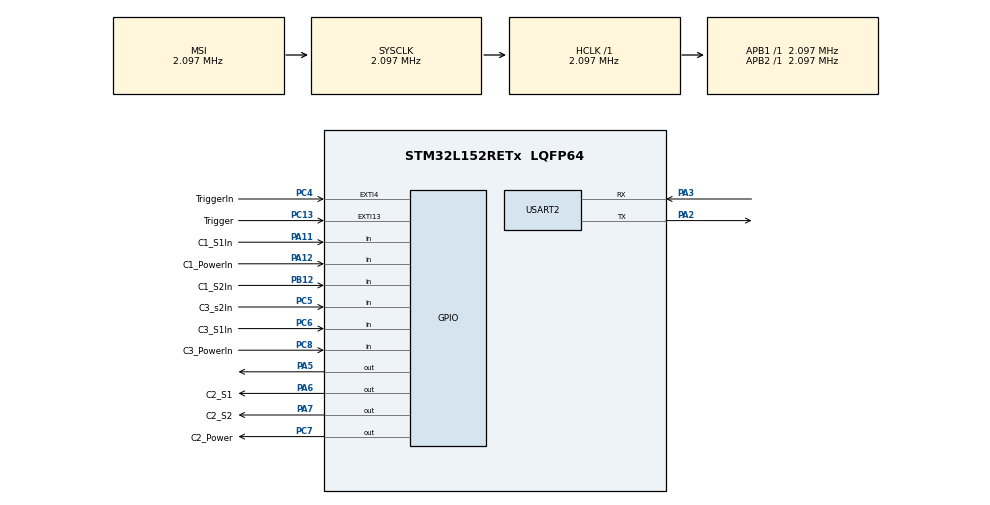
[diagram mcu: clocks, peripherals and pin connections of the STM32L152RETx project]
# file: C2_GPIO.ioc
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Mcu.Family=STM32L1
Mcu.Name=STM32L152RETx
Mcu.Package=LQFP64
NVIC.EXTI15_10_IRQn=true\:0\:0\:false\:false\:true\:true\:true
NVIC.EXTI4_IRQn=true\:0\:0\:false\:false\:true\:true\:true
NVIC.PriorityGroup=NVIC_PRIORITYGROUP_4
PA11.GPIO_Label=C1_S1In
PA11.Signal=GPIO_Input
PA12.GPIO_Label=C1_PowerIn
PA12.Signal=GPIO_Input
PA2.Mode=Asynchronous
PA2.Signal=USART2_TX
PA3.Mode=Asynchronous
PA3.Signal=USART2_RX
PA5.Signal=GPIO_Output
PA6.GPIO_Label=C2_S1
PA6.Signal=GPIO_Output
PA7.GPIO_Label=C2_S2
PA7.Signal=GPIO_Output
PB12.GPIO_Label=C1_S2In
PB12.Signal=GPIO_Input
PC13-WKUP2.GPIO_Label=Trigger
PC13-WKUP2.GPIO_ModeDefaultEXTI=GPIO_MODE_IT_FALLING
PC13-WKUP2.Signal=GPXTI13
PC4.GPIO_Label=TriggerIn
PC4.GPIO_ModeDefaultEXTI=GPIO_MODE_IT_FALLING
PC4.Signal=GPXTI4
PC5.GPIO_Label=C3_s2In
PC5.Signal=GPIO_Input
PC6.GPIO_Label=C3_S1In
PC6.Signal=GPIO_Input
PC7.GPIO_Label=C2_Power
PC7.Signal=GPIO_Output
PC8.GPIO_Label=C3_PowerIn
PC8.Signal=GPIO_Input
ProjectManager.HeapSize=0x200
ProjectManager.StackSize=0x400
ProjectManager.TargetToolchain=MDK-ARM V5.27
RCC.AHBFreq_Value=2097000
RCC.APB1Freq_Value=2097000
RCC.APB2Freq_Value=2097000
RCC.HSE_VALUE=24000000
RCC.HSI_VALUE=16000000
RCC.LSE_VALUE=32768
RCC.MSI_VALUE=2097000
RCC.SYSCLKFreq_VALUE=2097000
RCC.VCOOutputFreq_Value=48000000
USART2.VirtualMode=VM_ASYNC
board=custom

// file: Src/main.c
/* USER CODE BEGIN Header */
/**
  ******************************************************************************
  * @file           : main.c
  * @brief          : Main program body
  ******************************************************************************
  * @attention
  *
  * <h2><center>&copy; Copyright (c) 2020 STMicroelectronics.
  * All rights reserved.</center></h2>
  *
  * This software component is licensed by ST under BSD 3-Clause license,
  * the "License"; You may not use this file except in compliance with the
  * License. You may obtain a copy of the License at:
  *                        opensource.org/licenses/BSD-3-Clause
  *
  ******************************************************************************
  */
/* USER CODE END Header */

#include "main.h"
#include <stdio.h>

/* USER CODE BEGIN PTD */
typedef enum{
	P_Core = 0x7, S_Core = 0x5, Reboot = 0x1, Sleep = 0x6, Killed = 0x0
}States;

typedef enum{
	ThreeCore = 0 , TwoCore =  1 , OneCore = 2
}CoreStatus;
/* USER CODE END PTD */

/* USER CODE BEGIN PD */
#define Power 1
#define NoPower 0

#define Read(gpio, pin) HAL_GPIO_ReadPin(gpio, pin)
#define Combine(pin1, pin2, pin3) (pin1 << 2) | (pin2 << 1) | pin1

/* USER CODE END PD */

UART_HandleTypeDef huart2;

/* USER CODE BEGIN PV */
	int trigger = 0;
	int transitionComplete = 0;
/* USER CODE END PV */

void SystemClock_Config(void);
static void MX_GPIO_Init(void);
static void MX_USART2_UART_Init(void);
/* USER CODE BEGIN PFP */
void display_LED(States *state);
States state_checker(States my_state);
CoreStatus power_checker(void);
/* USER CODE END PFP */

/* USER CODE BEGIN 0 */
	char Msg1[100] = {0};
/* USER CODE END 0 */

int main(void)
{
  /* USER CODE BEGIN 1 */
	//INTIAL STATE AND POWER STATUS
	States state;
	CoreStatus power;
	state = S_Core;
	power = ThreeCore;

  /* USER CODE END 1 */

  /* MCU Configuration--------------------------------------------------------*/

  /* Reset of all peripherals, Initializes the Flash interface and the Systick. */
  HAL_Init();

  /* Configure the system clock */
  SystemClock_Config();

  /* Initialize all configured peripherals */
  MX_GPIO_Init();
  MX_USART2_UART_Init();

  /* Infinite loop */
  /* USER CODE BEGIN WHILE */
  while (1)
  {
		//Send its power signal
		HAL_GPIO_WritePin(GPIOC, C2_Power_Pin, GPIO_PIN_SET);
    /* USER CODE END WHILE */
		//power = power_checker();
			if(trigger == 0){
					switch(state){
						case P_Core:
							if(ThreeCore || TwoCore) state = S_Core;
							else state = P_Core;
							//state = state_checker(state);
							break;
						case S_Core:
							if(ThreeCore || TwoCore) state = Reboot;
							//If you are the only core
							if(OneCore) state = P_Core;
							break;
						case Reboot:
							if(ThreeCore) state = Sleep;
						  else if(TwoCore) state = P_Core;
							break;
						case Sleep:
							state = P_Core;
							break;
						case Killed:
							state = Killed;
							HAL_GPIO_WritePin(GPIOC, C2_Power_Pin, GPIO_PIN_RESET);
							break;
					}
					snprintf((char *)Msg1, sizeof(Msg1), "\r\nState: %d\r\n",  state);
					HAL_UART_Transmit(&huart2, (uint8_t *) Msg1, sizeof(Msg1), 1);
					trigger = 1;
				}
				//display_LED(&state);
				HAL_Delay(500);
  }
}

CoreStatus power_checker(void){
	//Assuming Core 2 is alive (I mean how else will it enter this function
	if(HAL_GPIO_ReadPin(GPIOA, C1_PowerIn_Pin) == GPIO_PIN_SET
			&& HAL_GPIO_ReadPin(GPIOC, C3_PowerIn_Pin) == GPIO_PIN_SET){
				return ThreeCore;
	}
	else if (HAL_GPIO_ReadPin(GPIOA, C1_PowerIn_Pin) == GPIO_PIN_RESET
			&& HAL_GPIO_ReadPin(GPIOC, C3_PowerIn_Pin) == GPIO_PIN_SET){
				return TwoCore;
	}
	else if(HAL_GPIO_ReadPin(GPIOA, C1_PowerIn_Pin) == GPIO_PIN_SET
			&& HAL_GPIO_ReadPin(GPIOC, C3_PowerIn_Pin) == GPIO_PIN_RESET){
				return TwoCore;
	}
	else if(HAL_GPIO_ReadPin(GPIOA, C1_PowerIn_Pin) == GPIO_PIN_RESET
			&& HAL_GPIO_ReadPin(GPIOC, C3_PowerIn_Pin) == GPIO_PIN_RESET){
				return OneCore;
	}

}

void display_LED(States *state){
		switch(*state){
			case P_Core:
				HAL_GPIO_WritePin(GPIOC, C2_Power_Pin, GPIO_PIN_SET);
				HAL_GPIO_WritePin(GPIOA, C2_S1_Pin, GPIO_PIN_SET);
				HAL_GPIO_WritePin(GPIOA, C2_S2_Pin, GPIO_PIN_SET);
				break;
			case S_Core:
				HAL_GPIO_WritePin(GPIOC, C2_Power_Pin, GPIO_PIN_SET);
				HAL_GPIO_WritePin(GPIOA, C2_S1_Pin, GPIO_PIN_RESET);
				HAL_GPIO_WritePin(GPIOA, C2_S2_Pin, GPIO_PIN_SET);
				break;
			case Reboot:
				HAL_GPIO_WritePin(GPIOC, C2_Power_Pin, GPIO_PIN_RESET);
				HAL_GPIO_WritePin(GPIOA, C2_S1_Pin, GPIO_PIN_RESET);
				HAL_GPIO_WritePin(GPIOA, C2_S2_Pin, GPIO_PIN_SET);
				break;
			case Sleep:
				HAL_GPIO_WritePin(GPIOC, C2_Power_Pin, GPIO_PIN_SET);
				HAL_GPIO_WritePin(GPIOA, C2_S1_Pin, GPIO_PIN_SET);
				HAL_GPIO_WritePin(GPIOA, C2_S2_Pin, GPIO_PIN_RESET);
				break;
			case Killed:
				HAL_GPIO_WritePin(GPIOC, C2_Power_Pin, GPIO_PIN_RESET);
				HAL_GPIO_WritePin(GPIOA, C2_S1_Pin, GPIO_PIN_RESET);
				HAL_GPIO_WritePin(GPIOA, C2_S2_Pin, GPIO_PIN_RESET);
				break;
		}
}

void SystemClock_Config(void)
{
  RCC_OscInitTypeDef RCC_OscInitStruct = {0};
  RCC_ClkInitTypeDef RCC_ClkInitStruct = {0};

  /** Configure the main internal regulator output voltage
  */
  __HAL_PWR_VOLTAGESCALING_CONFIG(PWR_REGULATOR_VOLTAGE_SCALE1);
  /** Initializes the CPU, AHB and APB busses clocks
  */
  RCC_OscInitStruct.OscillatorType = RCC_OSCILLATORTYPE_MSI;
  RCC_OscInitStruct.MSIState = RCC_MSI_ON;
  RCC_OscInitStruct.MSICalibrationValue = 0;
  RCC_OscInitStruct.MSIClockRange = RCC_MSIRANGE_5;
  RCC_OscInitStruct.PLL.PLLState = RCC_PLL_NONE;
  if (HAL_RCC_OscConfig(&RCC_OscInitStruct) != HAL_OK)
  {
    Error_Handler();
  }
  /** Initializes the CPU, AHB and APB busses clocks
  */
  RCC_ClkInitStruct.ClockType = RCC_CLOCKTYPE_HCLK|RCC_CLOCKTYPE_SYSCLK
                              |RCC_CLOCKTYPE_PCLK1|RCC_CLOCKTYPE_PCLK2;
  RCC_ClkInitStruct.SYSCLKSource = RCC_SYSCLKSOURCE_MSI;
  RCC_ClkInitStruct.AHBCLKDivider = RCC_SYSCLK_DIV1;
  RCC_ClkInitStruct.APB1CLKDivider = RCC_HCLK_DIV1;
  RCC_ClkInitStruct.APB2CLKDivider = RCC_HCLK_DIV1;

  if (HAL_RCC_ClockConfig(&RCC_ClkInitStruct, FLASH_LATENCY_0) != HAL_OK)
  {
    Error_Handler();
  }
}

static void MX_USART2_UART_Init(void)
{

  huart2.Instance = USART2;
  huart2.Init.BaudRate = 115200;
  huart2.Init.WordLength = UART_WORDLENGTH_8B;
  huart2.Init.StopBits = UART_STOPBITS_1;
  huart2.Init.Parity = UART_PARITY_NONE;
  huart2.Init.Mode = UART_MODE_TX_RX;
  huart2.Init.HwFlowCtl = UART_HWCONTROL_NONE;
  huart2.Init.OverSampling = UART_OVERSAMPLING_16;
  if (HAL_UART_Init(&huart2) != HAL_OK)
  {
    Error_Handler();
  }

}

static void MX_GPIO_Init(void)
{
  GPIO_InitTypeDef GPIO_InitStruct = {0};

  /* GPIO Ports Clock Enable */
  __HAL_RCC_GPIOC_CLK_ENABLE();
  __HAL_RCC_GPIOA_CLK_ENABLE();
  __HAL_RCC_GPIOB_CLK_ENABLE();

  /*Configure GPIO pin Output Level */
  HAL_GPIO_WritePin(GPIOA, GPIO_PIN_5|C2_S1_Pin|C2_S2_Pin, GPIO_PIN_RESET);

  /*Configure GPIO pin Output Level */
  HAL_GPIO_WritePin(C2_Power_GPIO_Port, C2_Power_Pin, GPIO_PIN_RESET);

  /*Configure GPIO pins : Trigger_Pin TriggerIn_Pin */
  GPIO_InitStruct.Pin = Trigger_Pin|TriggerIn_Pin;
  GPIO_InitStruct.Mode = GPIO_MODE_IT_FALLING;
  GPIO_InitStruct.Pull = GPIO_NOPULL;
  HAL_GPIO_Init(GPIOC, &GPIO_InitStruct);

  /*Configure GPIO pins : PA5 C2_S1_Pin C2_S2_Pin */
  GPIO_InitStruct.Pin = GPIO_PIN_5|C2_S1_Pin|C2_S2_Pin;
  GPIO_InitStruct.Mode = GPIO_MODE_OUTPUT_PP;
  GPIO_InitStruct.Pull = GPIO_NOPULL;
  GPIO_InitStruct.Speed = GPIO_SPEED_FREQ_LOW;
  HAL_GPIO_Init(GPIOA, &GPIO_InitStruct);

  /*Configure GPIO pins : C3_s2In_Pin C3_S1In_Pin C3_PowerIn_Pin */
  GPIO_InitStruct.Pin = C3_s2In_Pin|C3_S1In_Pin|C3_PowerIn_Pin;
  GPIO_InitStruct.Mode = GPIO_MODE_INPUT;
  GPIO_InitStruct.Pull = GPIO_NOPULL;
  HAL_GPIO_Init(GPIOC, &GPIO_InitStruct);

  /*Configure GPIO pin : C1_S2In_Pin */
  GPIO_InitStruct.Pin = C1_S2In_Pin;
  GPIO_InitStruct.Mode = GPIO_MODE_INPUT;
  GPIO_InitStruct.Pull = GPIO_NOPULL;
  HAL_GPIO_Init(C1_S2In_GPIO_Port, &GPIO_InitStruct);

  /*Configure GPIO pin : C2_Power_Pin */
  GPIO_InitStruct.Pin = C2_Power_Pin;
  GPIO_InitStruct.Mode = GPIO_MODE_OUTPUT_PP;
  GPIO_InitStruct.Pull = GPIO_NOPULL;
  GPIO_InitStruct.Speed = GPIO_SPEED_FREQ_LOW;
  HAL_GPIO_Init(C2_Power_GPIO_Port, &GPIO_InitStruct);

  /*Configure GPIO pins : C1_S1In_Pin C1_PowerIn_Pin */
  GPIO_InitStruct.Pin = C1_S1In_Pin|C1_PowerIn_Pin;
  GPIO_InitStruct.Mode = GPIO_MODE_INPUT;
  GPIO_InitStruct.Pull = GPIO_NOPULL;
  HAL_GPIO_Init(GPIOA, &GPIO_InitStruct);

  /* EXTI interrupt init*/
  HAL_NVIC_SetPriority(EXTI4_IRQn, 0, 0);
  HAL_NVIC_EnableIRQ(EXTI4_IRQn);

  HAL_NVIC_SetPriority(EXTI15_10_IRQn, 0, 0);
  HAL_NVIC_EnableIRQ(EXTI15_10_IRQn);

}

/* USER CODE BEGIN 4 */
	void HAL_GPIO_EXTI_Callback(uint16_t GPIO_Pin)
	{
		if(trigger == 0){
			if(GPIO_Pin == TriggerIn_Pin){
				//HAL_GPIO_TogglePin(GPIOC, GPIO_PIN_4);
				//HAL_GPIO_TogglePin(GPIOA, GPIO_PIN_5);
				trigger = 1;
			}
		}
		else{
			__NOP();
		}
	}

/* USER CODE END 4 */

void Error_Handler(void)
{
}

/************************ (C) COPYRIGHT STMicroelectronics *****END OF FILE****/
